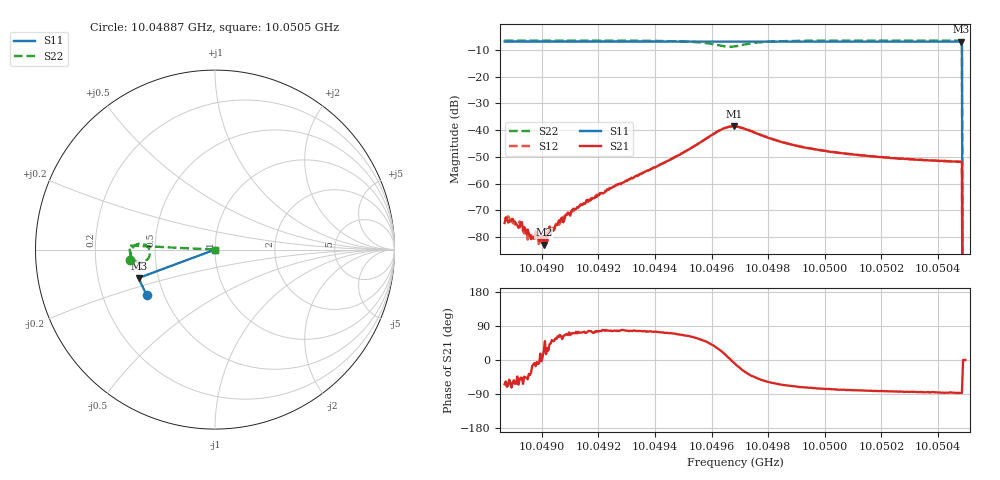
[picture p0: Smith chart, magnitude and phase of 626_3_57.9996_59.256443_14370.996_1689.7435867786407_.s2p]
#  HZ  S  RI  R  50.00
! Rohde & Schwarz Vector Network Analyzer
! Rohde-Schwarz,ZNB20-2Port,1311601062101988,3.16
! Created: UTC 3/21/2024, 1:18:21 AM
! freq[Hz]  re:S11  im:S11  re:S21  im:S21  re:S12  im:S12  re:S22  im:S22
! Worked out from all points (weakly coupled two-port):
!   401 points, 10.04887 GHz to 10.0505 GHz, reference 50 ohm
!   highest |S21| = -38.61 dB at 10.04968 GHz (marker M1); lowest = -82.9 dB at 10.04901 GHz (marker M2)
!   lowest |S11| = -6.9 dB at 10.05048 GHz (marker M3), VSWR 2.65, Z = 19.4 - j7.69 ohm
!   |S11| at or under -10 dB: 10.05048 GHz to end of sweep
!   |S22| runs from - to -6.4 dB; largest |S21 - S12| = 0.00097
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1.0048869e10  -0.3786 -0.2529  8.03e-05 -0.000165  9.77e-05 -0.000194  -0.4724 -0.0593
1.0048877e10  -0.3788 -0.2525  7.26e-05 -0.000209  0.000151 -0.000179  -0.4724 -0.0587
1.0048901e10  -0.3797 -0.251  0.000118 -0.00016  0.000112 -0.000139  -0.4725 -0.0567
1.0048922e10  -0.3805 -0.2498  9.37e-05 -0.000122  0.000126 -0.000152  -0.4728 -0.0552
1.0048934e10  -0.3809 -0.2492  5.97e-05 -0.000117  8.23e-05 -9.89e-05  -0.4727 -0.054
1.0048958e10  -0.3818 -0.2477  8.27e-05 -6.91e-05  8.66e-05 -4.72e-05  -0.4728 -0.0522
1.0049007e10  -0.3834 -0.245  6.59e-05 2.87e-05  6.58e-05 3.71e-05  -0.4729 -0.048
1.004904e10  -0.3845 -0.2432  8.44e-05 9.93e-05  6.49e-05 0.000153  -0.4731 -0.0451
1.0049064e10  -0.3854 -0.2418  7.79e-05 0.000179  6.1e-05 0.000166  -0.473 -0.043
1.0049084e10  -0.386 -0.2405  0.000102 0.000241  7.39e-05 0.000231  -0.473 -0.0412
1.0049141e10  -0.3879 -0.2372  0.000119 0.000382  6.47e-05 0.00039  -0.4729 -0.0358
1.0049239e10  -0.3912 -0.2316  0.000174 0.000758  0.00015 0.000818  -0.4723 -0.0259
1.0049414e10  -0.3966 -0.2214  0.000609 0.0021  0.000533 0.00217  -0.4662 -0.0021
1.0049626e10  -0.4019 -0.2085  0.00857 0.0046  0.00822 0.0052  -0.3866 0.0248
1.0049679e10  -0.4031 -0.206  0.0117 -0.00139  0.0117 -0.000613  -0.3651 -0.0346
1.0049683e10  -0.4031 -0.2059  0.0114 -0.00203  0.0117 -0.00119  -0.3668 -0.0395
1.0049785e10  -0.4065 -0.2003  0.00447 -0.00627  0.00488 -0.00603  -0.4411 -0.0651
1.0049955e10  -0.4115 -0.1899  0.00125 -0.00429  0.00151 -0.00425  -0.4696 -0.0301
1.0050228e10  -0.4184 -0.1733  0.000399 -0.00302  0.00057 -0.00299  -0.4751 0.00142
1.0050477e10  -0.424 -0.1581  0.000128 -0.00257  0.000302 -0.00256  -0.475 0.0223
1.0050481e10  -0.4239 -0.1579  0.000133 -0.00255  0.000281 -0.00255  -0.4752 0.0226
1.0050497e10  0 0  0 0  0 0  0 0
